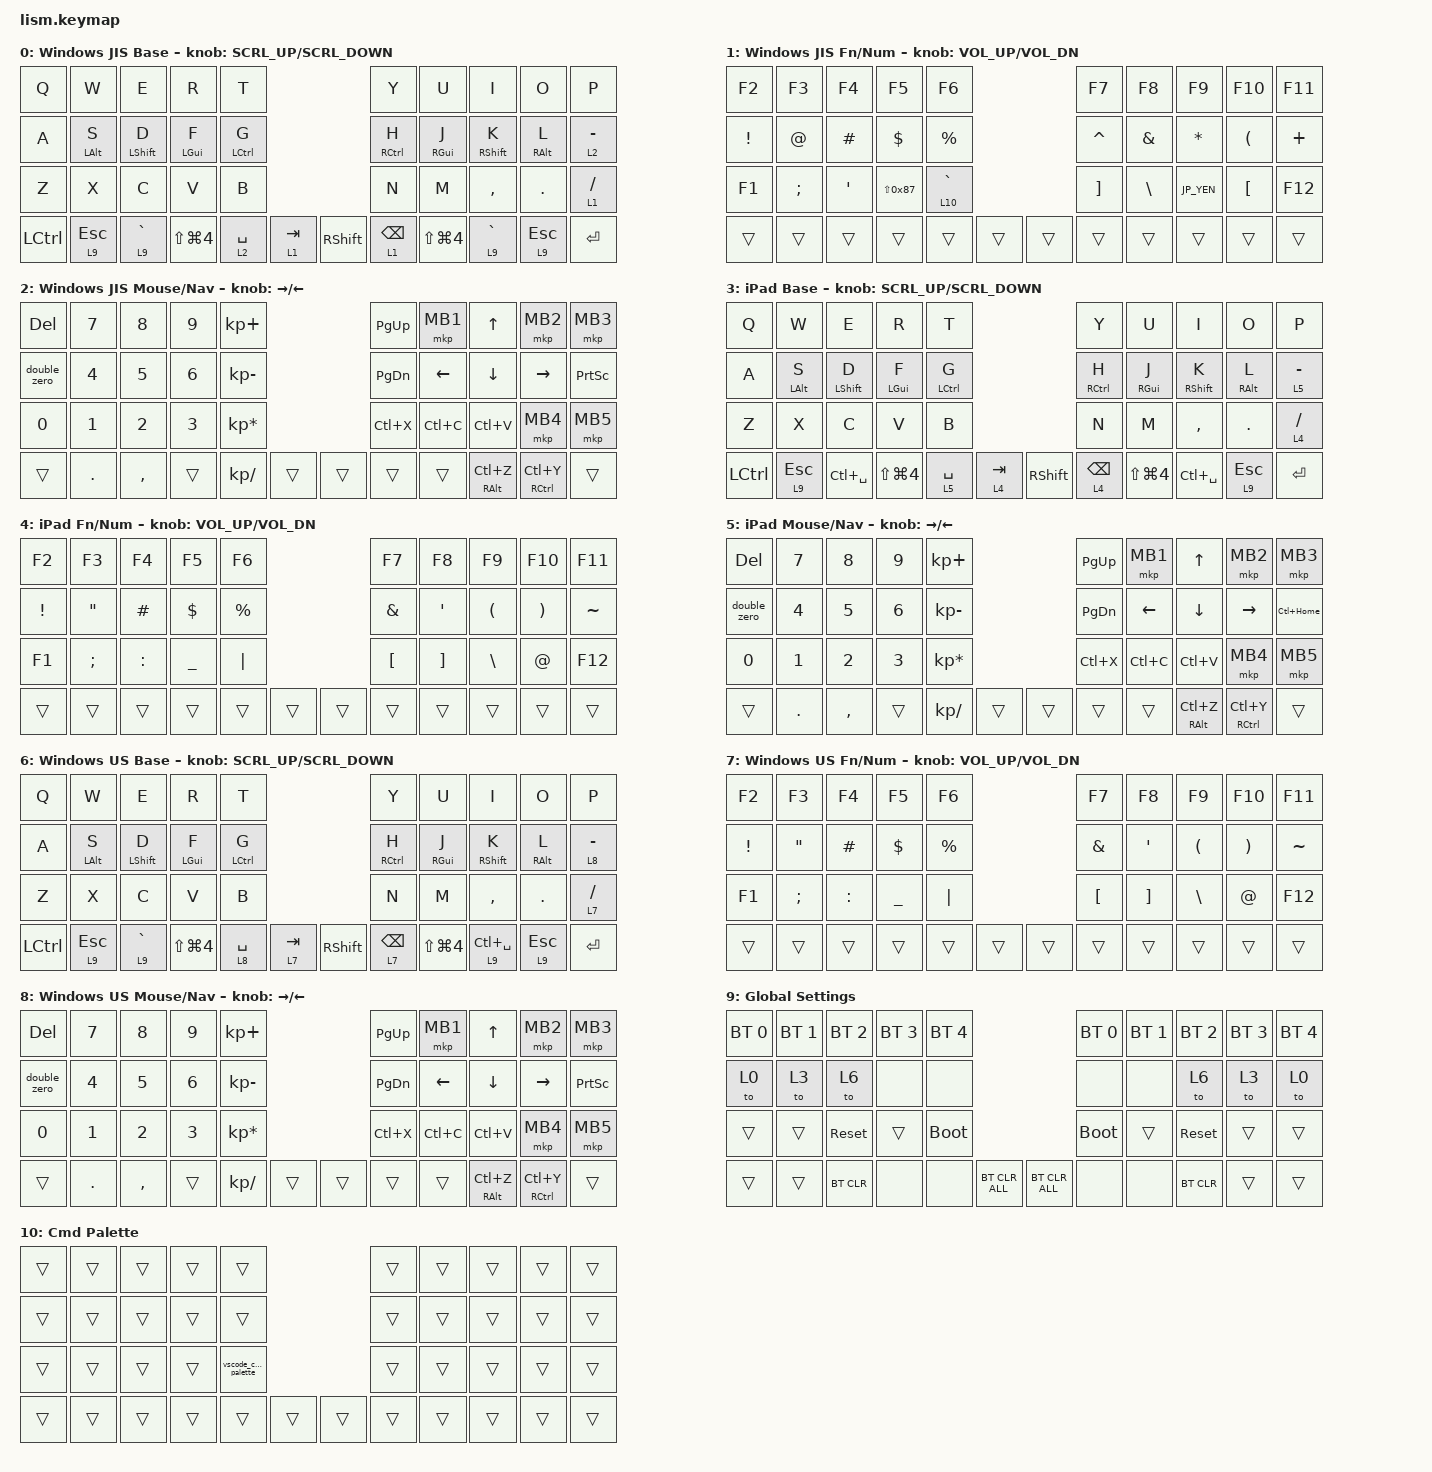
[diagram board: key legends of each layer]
#define ZMK_POINTING_DEFAULT_SCRL_VAL 100

#include <dt-bindings/zmk/mouse.h>
#include <behaviors.dtsi>
#include <dt-bindings/zmk/bt.h>
#include <dt-bindings/zmk/keys.h>
#include <dt-bindings/zmk/pointing.h>

// OS設定を日本語キーボードのまま使用するための変換定義
// JIS配列用キーコード定義

#define JP_DQUOTE       AT                // "
#define JP_AMPERSAND    CARET             // &
#define JP_QUOTE        AMPERSAND         // '
#define JP_EQUAL        UNDERSCORE        // =
#define JP_CARET        EQUAL             // ^
#define JP_YEN          0x89              // ¥
#define JP_PLUS         COLON             // +
#define JP_TILDE        PLUS              // ~
#define JP_PIPE         LS(0x89)          // |
#define JP_AT           LEFT_BRACKET      // @
#define JP_COLON        SINGLE_QUOTE      // :
#define JP_ASTERISK     DOUBLE_QUOTES     // *
#define JP_BACKQUOTE    LEFT_BRACE        // `
#define JP_UNDERSCORE   LS(0x87)          // _
#define JP_LBRACKET     RIGHT_BRACKET     // [
#define JP_RBRACKET     BSLH              // ]
#define JP_LPAREN       ASTERISK          // (
#define JP_RPAREN       LEFT_PARENTHESIS  // )
#define JP_LBRACE       RIGHT_BRACE       // {
#define JP_RBRACE       PIPE              // }
#define JP_KANA         LANGUAGE_1        // かな
#define JP_EISU         LANGUAGE_2        // 英数
#define JP_HANZEN       GRAVE             // 半角/全角

// Mod-Tap/Layer-Tap の設定

&mt {
    tapping-term-ms = <300>;
    flavor = "balanced";
};

&lt { quick-tap-ms = <300>; };

/ {
    macros {
        emoji: emoji_macro {
            compatible = "zmk,behavior-macro";
            label = "EMOJI";
            #binding-cells = <0>;
            bindings =
                <&macro_press>,
                <&kp CAPSLOCK>,
                <&macro_tap>,
                <&kp E>,
                <&macro_release>,
                <&kp CAPSLOCK>;
        };

        // 「00」を入力するマクロ

        double_zero: double_zero_macro {
            compatible = "zmk,behavior-macro";
            label = "DBL_0";
            #binding-cells = <0>;
            bindings =
                <&macro_press>,
                <&kp NUMBER_0>,
                <&macro_release>,
                <&kp NUMBER_0>,
                <&macro_press>,
                <&kp NUMBER_0>,
                <&macro_release>,
                <&kp NUMBER_0>;
        };

        // VS Code コマンドパレットを開くマクロ（Ctrl+Shift+P）

        vscode_cmd_palette: vscode_cmd_palette_macro {
            compatible = "zmk,behavior-macro";
            label = "VS_CODE_CMD_PALETTE";
            #binding-cells = <0>;
            bindings =
                <&macro_press &mo LCTRL>,
                <&macro_press &mo LSHIFT>,
                <&macro_tap &kp P>,
                <&macro_release &mo LSHIFT>,
                <&macro_release &mo LCTRL>;
        };
    };

    behaviors {
        encoder_msc: sensor_rotate_msc {
            compatible = "zmk,behavior-sensor-rotate-var";
            #sensor-binding-cells = <2>;
            bindings = <&msc>, <&msc>;

            tap-ms = <20>;
        };

        encoder_kp: sensor_rotate_kp {
            compatible = "zmk,behavior-sensor-rotate-var";
            #sensor-binding-cells = <2>;
            bindings = <&kp>, <&kp>;
        };

        // タップでバッククォート、ホールドでレイヤー10（コマンドパレット用）に切り替え
        // レイヤー10でコマンドパレットを開くキーを配置

    };

    keymap {
        compatible = "zmk,keymap";

        // L0: Windows JIS配列 ベースレイヤー（デフォルト）

        default_layer {
            display-name = "Windows JIS Base";
            bindings = <
&kp Q      &kp W       &kp E         &kp R           &kp T                                         &kp Y            &kp U           &kp I            &kp O       &kp P
&kp A      &mt LALT S  &mt LSHIFT D  &mt LGUI F      &mt LCTRL G                                   &mt RCTRL H      &mt RGUI J      &mt RSHIFT K     &mt RALT L  &lt 2 MINUS
&kp Z      &kp X       &kp C         &kp V           &kp B                                         &kp N            &kp M           &kp COMMA        &kp DOT     &lt 1 SLASH
&kp LCTRL  &lt 9 ESC   &lt 9 JP_HANZEN  &kp LS(LG(N4))  &lt 2 SPACE  &lt 1 TAB    &kp RIGHT_SHIFT  &lt 1 BACKSPACE  &kp LS(LG(N4))  &lt 9 JP_HANZEN  &lt 9 ESC   &kp ENTER
            >;

            sensor-bindings = <&encoder_msc SCRL_UP SCRL_DOWN>;
        };

        // L1: Windows JIS配列 Fn / 数字 / 記号レイヤー

        layer_1 {
            display-name = "Windows JIS Fn/Num";
            bindings = <
&kp F2    &kp F3             &kp F4     &kp F5          &kp F6                         &kp F7            &kp F8             &kp F9                &kp F10                &kp F11
&kp EXCL  &kp JP_DQUOTE      &kp HASH      &kp DOLLAR         &kp PERCENT                    &kp JP_AMPERSAND  &kp JP_QUOTE     &kp JP_LPAREN  &kp JP_RPAREN  &kp JP_TILDE
&kp F1    &kp SEMI           &kp JP_COLON  &kp JP_UNDERSCORE  &lt 10 GRAVE                   &kp JP_LBRACKET   &kp JP_RBRACKET  &kp JP_YEN     &kp JP_AT      &kp F12
&trans    &trans             &trans        &trans             &trans       &trans    &trans  &trans            &trans           &trans         &trans         &trans
            >;

            sensor-bindings = <&encoder_kp C_VOL_UP C_VOL_DN>;
        };

        // L2: Windows JIS配列 マウス / ナビゲーションレイヤー

        layer_2 {
            display-name = "Windows JIS Mouse/Nav";
            bindings = <
&kp DEL       &kp NUMBER_7  &kp NUMBER_8  &kp NUMBER_9  &kp KP_PLUS                        &kp PG_UP  &mkp MB1   &kp UP          &mkp MB2         &mkp MB3
&double_zero  &kp NUMBER_4  &kp NUMBER_5  &kp NUMBER_6  &kp KP_MINUS                       &kp PG_DN  &kp LEFT   &kp DOWN        &kp RIGHT        &kp PRINTSCREEN
&kp NUMBER_0  &kp NUMBER_1  &kp NUMBER_2  &kp NUMBER_3  &kp KP_MULTIPLY                    &kp LC(X)  &kp LC(C)  &kp LC(V)       &mkp MB4         &mkp MB5
&trans        &kp DOT       &kp COMMA     &trans        &kp KP_DIVIDE    &trans    &trans  &trans     &trans     &mt RALT LC(Z)  &mt RCTRL LC(Y)  &trans
            >;

            sensor-bindings = <&encoder_kp RIGHT_ARROW LEFT_ARROW>;
        };

        // L3: iPad ベースレイヤー

        layer_3 {
            display-name = "iPad Base";
            bindings = <
&kp Q      &kp W       &kp E         &kp R           &kp T                                      &kp Y            &kp U           &kp I            &kp O       &kp P
&kp A      &mt LALT S  &mt LSHIFT D  &mt LGUI F      &mt LCTRL G                                &mt RCTRL H      &mt RGUI J      &mt RSHIFT K     &mt RALT L  &lt 5 MINUS
&kp Z      &kp X       &kp C         &kp V           &kp B                                      &kp N            &kp M           &kp COMMA        &kp DOT     &lt 4 SLASH
&kp LCTRL  &lt 9 ESC   &kp LC(SPACE) &kp LS(LG(N4))  &lt 5 SPACE  &lt 4 TAB    &kp RIGHT_SHIFT  &lt 4 BACKSPACE  &kp LS(LG(N4))  &kp LC(SPACE)  &lt 9 ESC   &kp ENTER
            >;

            sensor-bindings = <&encoder_msc SCRL_UP SCRL_DOWN>;
        };

        // L4: iPad Fn / 数字 / 記号レイヤー

        layer_4 {
            display-name = "iPad Fn/Num";
            bindings = <
&kp F2    &kp F3             &kp F4     &kp F5          &kp F6                         &kp F7            &kp F8             &kp F9                &kp F10                &kp F11
&kp EXCL  &kp DOUBLE_QUOTES  &kp HASH   &kp DOLLAR      &kp PERCENT                    &kp AMPERSAND     &kp SINGLE_QUOTE   &kp LEFT_PARENTHESIS  &kp RIGHT_PARENTHESIS  &kp TILDE
&kp F1    &kp SEMI           &kp COLON  &kp UNDERSCORE  &kp PIPE                       &kp LEFT_BRACKET  &kp RIGHT_BRACKET  &kp BSLH              &kp AT_SIGN            &kp F12
&trans    &trans             &trans     &trans          &trans       &trans    &trans  &trans            &trans             &trans                &trans                 &trans
            >;

            sensor-bindings = <&encoder_kp C_VOL_UP C_VOL_DN>;
        };

        // L5: iPad マウス / ナビゲーションレイヤー

        layer_5 {
            display-name = "iPad Mouse/Nav";
            bindings = <
&kp DEL       &kp NUMBER_7  &kp NUMBER_8  &kp NUMBER_9  &kp KP_PLUS                        &kp PG_UP  &mkp MB1   &kp UP          &mkp MB2         &mkp MB3
&double_zero  &kp NUMBER_4  &kp NUMBER_5  &kp NUMBER_6  &kp KP_MINUS                       &kp PG_DN  &kp LEFT   &kp DOWN        &kp RIGHT        &kp LC(HOME)
&kp NUMBER_0  &kp NUMBER_1  &kp NUMBER_2  &kp NUMBER_3  &kp KP_MULTIPLY                    &kp LC(X)  &kp LC(C)  &kp LC(V)       &mkp MB4         &mkp MB5
&trans        &kp DOT       &kp COMMA     &trans        &kp KP_DIVIDE    &trans    &trans  &trans     &trans     &mt RALT LC(Z)  &mt RCTRL LC(Y)  &trans
            >;

            sensor-bindings = <&encoder_kp RIGHT_ARROW LEFT_ARROW>;
        };

        // L6: Windows US配列 ベースレイヤー

        layer_6 {
            display-name = "Windows US Base";
            bindings = <
&kp Q      &kp W       &kp E         &kp R           &kp T                                      &kp Y            &kp U           &kp I            &kp O       &kp P
&kp A      &mt LALT S  &mt LSHIFT D  &mt LGUI F      &mt LCTRL G                                &mt RCTRL H      &mt RGUI J      &mt RSHIFT K     &mt RALT L  &lt 8 MINUS
&kp Z      &kp X       &kp C         &kp V           &kp B                                      &kp N            &kp M           &kp COMMA        &kp DOT     &lt 7 SLASH
&kp LCTRL  &lt 9 ESC   &lt 9 GRAVE   &kp LS(LG(N4))  &lt 8 SPACE  &lt 7 TAB    &kp RIGHT_SHIFT  &lt 7 BACKSPACE  &kp LS(LG(N4))  &lt 9 LC(SPACE)  &lt 9 ESC   &kp ENTER
            >;

            sensor-bindings = <&encoder_msc SCRL_UP SCRL_DOWN>;
        };

        // L7: Windows US配列 Fn / 数字 / 記号レイヤー

        layer_7 {
            display-name = "Windows US Fn/Num";
            bindings = <
&kp F2    &kp F3             &kp F4     &kp F5          &kp F6                         &kp F7            &kp F8             &kp F9                &kp F10                &kp F11
&kp EXCL  &kp DOUBLE_QUOTES  &kp HASH   &kp DOLLAR      &kp PERCENT                    &kp AMPERSAND     &kp SINGLE_QUOTE   &kp LEFT_PARENTHESIS  &kp RIGHT_PARENTHESIS  &kp TILDE
&kp F1    &kp SEMI           &kp COLON  &kp UNDERSCORE  &kp PIPE                       &kp LEFT_BRACKET  &kp RIGHT_BRACKET  &kp BSLH              &kp AT_SIGN            &kp F12
&trans    &trans             &trans     &trans          &trans       &trans    &trans  &trans            &trans             &trans                &trans                 &trans
            >;

            sensor-bindings = <&encoder_kp C_VOL_UP C_VOL_DN>;
        };

        // L8: Windows US配列 マウス / ナビゲーションレイヤー

        layer_8 {
            display-name = "Windows US Mouse/Nav";
            bindings = <
&kp DEL       &kp NUMBER_7  &kp NUMBER_8  &kp NUMBER_9  &kp KP_PLUS                        &kp PG_UP  &mkp MB1   &kp UP          &mkp MB2         &mkp MB3
&double_zero  &kp NUMBER_4  &kp NUMBER_5  &kp NUMBER_6  &kp KP_MINUS                       &kp PG_DN  &kp LEFT   &kp DOWN        &kp RIGHT        &kp PRINTSCREEN
&kp NUMBER_0  &kp NUMBER_1  &kp NUMBER_2  &kp NUMBER_3  &kp KP_MULTIPLY                    &kp LC(X)  &kp LC(C)  &kp LC(V)       &mkp MB4         &mkp MB5
&trans        &kp DOT       &kp COMMA     &trans        &kp KP_DIVIDE    &trans    &trans  &trans     &trans     &mt RALT LC(Z)  &mt RCTRL LC(Y)  &trans
            >;

            sensor-bindings = <&encoder_kp RIGHT_ARROW LEFT_ARROW>;
        };

        // L9: Global Settings / OS・BT切り替え

        layer_9 {
            display-name = "Global Settings";
            bindings = <
&bt BT_SEL 0  &bt BT_SEL 1  &bt BT_SEL 2  &bt BT_SEL 3  &bt BT_SEL 4                                    &bt BT_SEL 0  &bt BT_SEL 1  &bt BT_SEL 2  &bt BT_SEL 3  &bt BT_SEL 4
&to 0         &to 3         &to 6         &none         &none                                           &none         &none         &to 6         &to 3         &to 0
&trans        &trans        &sys_reset    &trans        &bootloader                                     &bootloader   &trans        &sys_reset    &trans        &trans
&trans        &trans        &bt BT_CLR    &none         &none         &bt BT_CLR_ALL    &bt BT_CLR_ALL  &none         &none         &bt BT_CLR    &trans        &trans
            >;
        };

        // L10: コマンドパレット用レイヤー（バッククォートキーをホールド時にアクティブ）

        layer_10 {
            display-name = "Cmd Palette";
            bindings = <
&trans        &trans        &trans        &trans        &trans                                        &trans        &trans        &trans        &trans        &trans
&trans        &trans        &trans        &trans        &trans                                        &trans        &trans        &trans        &trans        &trans
&trans        &trans        &trans        &trans        &vscode_cmd_palette                           &trans        &trans        &trans        &trans        &trans
&trans        &trans        &trans        &trans        &trans       &trans    &trans  &trans     &trans     &trans        &trans        &trans
            >;
        };
    };
}; // keymap ノード終了

// レイヤー変更に合わせてスクロール層を修正（JIS Fn/Num = L1）
&right_listener {
    scroller {
        layers = <1>;
    };
};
